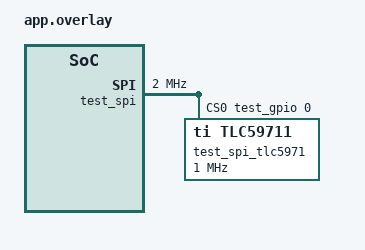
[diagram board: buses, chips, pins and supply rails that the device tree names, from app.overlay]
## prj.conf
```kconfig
CONFIG_TEST=y
CONFIG_TEST_USERSPACE=y

CONFIG_GPIO=y
CONFIG_SPI=y
CONFIG_LED_STRIP=y
CONFIG_TLC5971_STRIP=y
```

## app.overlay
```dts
/*
 * Copyright (c) 2020, Linaro Ltd.
 * Copyright (c) 2022, Esco Medical ApS
 *
 * SPDX-License-Identifier: Apache-2.0
 *
 * Application overlay for testing driver builds
 *
 * Names in this file should be chosen in a way that won't conflict
 * with real-world devicetree nodes, to allow these tests to run on
 * (and be extended to test) real hardware.
 */

#include <freq.h>
#include <zephyr/dt-bindings/led/led.h>

/ {
	test {
		#address-cells = <1>;
		#size-cells = <1>;

		test_gpio: gpio@deadbeef {
			compatible = "vnd,gpio";
			gpio-controller;
			reg = <0xdeadbeef 0x1000>;
			#gpio-cells = <0x2>;
			status = "okay";
		};

		test_spi: spi@33334444 {
			#address-cells = <1>;
			#size-cells = <0>;
			compatible = "vnd,spi";
			reg = <0x33334444 0x1000>;
			status = "okay";
			clock-frequency = <DT_FREQ_M(2)>;

			cs-gpios = <&test_gpio 0 0>;

			test_spi_tlc5971: tlc5971@0 {
				status = "okay";
				compatible = "ti,tlc59711", "ti,tlc5971";
				spi-max-frequency = <DT_FREQ_M(1)>;
				reg = <0x0>;
				chain-length = <8>; // two TLC5971 devices
				color-mapping = <LED_COLOR_ID_BLUE>,
						<LED_COLOR_ID_GREEN>,
						<LED_COLOR_ID_RED>;
			};
		};
	};
};
```

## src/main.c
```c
/*
 * Copyright (c) 2012-2014 Wind River Systems, Inc.
 *
 * SPDX-License-Identifier: Apache-2.0
 */

int main(void)
{
	return 0;
}
```
